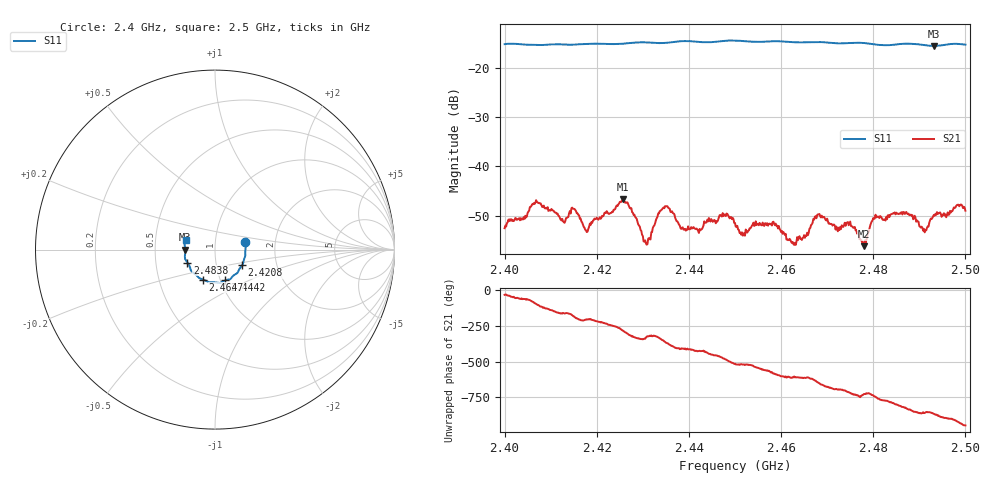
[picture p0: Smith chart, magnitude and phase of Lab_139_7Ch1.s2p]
# Hz S RI R 50
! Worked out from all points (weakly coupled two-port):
!   601 points, 2.4 GHz to 2.5 GHz, reference 50 ohm
!   highest |S21| = -46.69 dB at 2.4257 GHz (marker M1); lowest = -56.2 dB at 2.478 GHz (marker M2)
!   lowest |S11| = -15.6 dB at 2.4932 GHz (marker M3), VSWR 1.40, Z = 35.8 - j0.0651 ohm
!   |S11| at or under -10 dB: start of sweep to end of sweep
!   S12 and S22 are empty: the file has one direction only
!   S11 on the Smith chart (normalised r, x): 2.4 GHz: 1.40, +0.12; 2.4208 GHz: 1.33, -0.24; 2.4442 GHz: 1.05, -0.37; 2.4647 GHz: 0.83, -0.29; 2.4838 GHz: 0.73, -0.11; 2.5 GHz: 0.72, +0.08
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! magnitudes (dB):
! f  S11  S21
! 2.4 GHz  -15.3  -52.5
! 2.4068 GHz  -15.4  -46.9
! 2.4167 GHz  -15.2  -51.2
! 2.4178 GHz  -15.2  -53.3
! 2.4208 GHz  -15.2  -50.6
! 2.4257 GHz  -15.2  -46.7
! 2.4307 GHz  -14.9  -55.6
! 2.4333 GHz  -15.0  -49.5
! 2.4353 GHz  -15.0  -48.1
! 2.4392 GHz  -14.6  -52.7
! 2.4442 GHz  -14.9  -51.2
! 2.45 GHz  -14.5  -51.5
! 2.4647 GHz  -14.9  -54.5
! 2.4667 GHz  -14.8  -51.8
! 2.4747 GHz  -15.0  -51.9
! 2.478 GHz  -15.0  -56.2
! 2.4802 GHz  -15.3  -50.6
! 2.4833 GHz  -15.5  -49.9
! 2.4838 GHz  -15.4  -49.7
! 2.4912 GHz  -15.5  -53.4
! 2.4932 GHz  -15.6  -49.8
! 2.5 GHz  -15.3  -49.0
